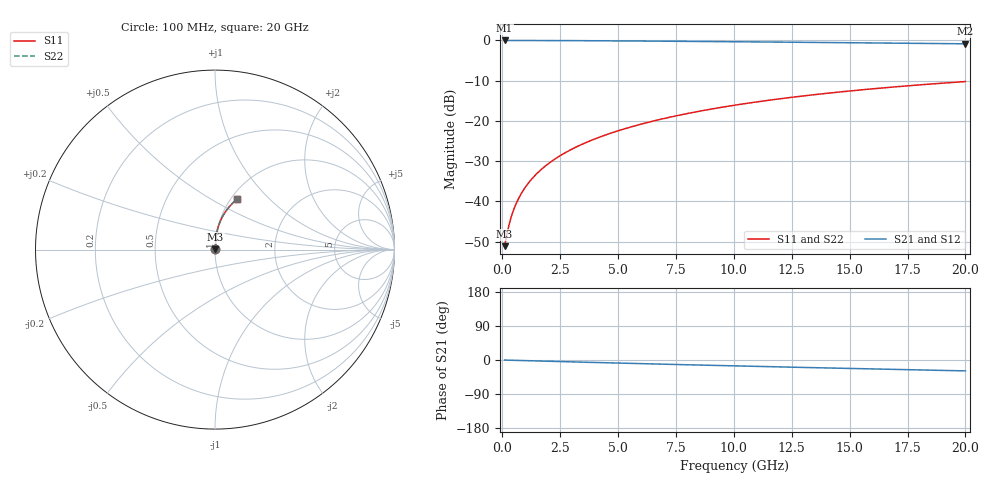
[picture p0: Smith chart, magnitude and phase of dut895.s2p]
! Touchstone file exported from HFSS 2024.1.0
!  File:  C:/UserFiles/LocalFiles/RDL_TSV_Batchsim/temp_RDL_top_895_1779857355.aedt
!  Generated:  12:51:48 PM May 27, 2026
!  Design:  RDL_top
!  Project:  temp_RDL_top_895_1779857355
!  Setup:  Setup1
!  Solution:  Sweep
! Variables:
!  dtsv = 10.80580581um
!  hbump = 3um
!  htsv = 83.18um
!  ldown = 100um
!  lrdl = 359.62um
!  p = 40
!  p1 = 52.52um
!  rhole = 1um
!  t = 450um
!  tdown = 3.915915916um
!  trdl = 3.04um
!  wdown = 15.38538539um
!  wrdl = 20.36um
# GHz S MA R 50.000000
! Terminal data exported
! Port[1] = Box2_T1
! Port[2] = Box2_T2
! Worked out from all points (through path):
!   200 points, 100 MHz to 20 GHz, reference 50 ohm
!   highest |S21| = -0.02 dB at 100 MHz (marker M1); lowest = -0.8 dB at 20 GHz (marker M2)
!   group delay of S21, straight-line fit = 3.96 ps
!   lowest |S11| = -51.1 dB at 100 MHz (marker M3), VSWR 1.01, Z = 50.2 + j0.159 ohm
!   |S11| at or under -10 dB: start of sweep to end of sweep
!   |S22| runs from -51.1 to -10.2 dB; largest |S21 - S12| = 4.4e-15
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0.1  0.002777 34.7  0.9977 -0.2  0.9977 -0.2  0.002777 34.7
! Gamma 0 0 0 0
! Port Impedance 50 0 50 0
0.2  0.003916 53.0  0.9976 -0.3  0.9976 -0.3  0.003916 53.0
0.3  0.005243 62.2  0.9975 -0.5  0.9975 -0.5  0.005243 62.2
0.4  0.006619 67.5  0.9974 -0.7  0.9974 -0.7  0.006619 67.5
0.5  0.00801 71.0  0.9973 -0.8  0.9973 -0.8  0.00801 71.0
0.6  0.009408 73.5  0.9972 -1.0  0.9972 -1.0  0.009408 73.5
0.8  0.01222 76.9  0.9969 -1.3  0.9969 -1.3  0.01222 76.9
1.1  0.01649 79.9  0.9966 -1.8  0.9966 -1.8  0.01649 79.9
1.3  0.01937 81.2  0.9963 -2.2  0.9963 -2.2  0.01937 81.2
1.6  0.02372 82.5  0.9958 -2.7  0.9958 -2.7  0.02372 82.5
2.1  0.03104 83.9  0.9949 -3.5  0.9949 -3.5  0.03104 83.9
2.7  0.03996 84.7  0.9935 -4.5  0.9935 -4.5  0.03996 84.7
3.5  0.05205 85.1  0.9912 -5.7  0.9912 -5.7  0.05205 85.1
4.2  0.06281 85.1  0.9888 -6.9  0.9888 -6.9  0.06281 85.1
5  0.0753 84.8  0.9858 -8.1  0.9858 -8.1  0.0753 84.8
5.9  0.08958 84.3  0.982 -9.5  0.982 -9.5  0.08958 84.3
6.8  0.104 83.5  0.9779 -10.8  0.9779 -10.8  0.104 83.5
8.4  0.13 81.8  0.9702 -13.2  0.9702 -13.2  0.13 81.8
10.1  0.1577 79.7  0.9616 -15.6  0.9616 -15.6  0.1577 79.7
13.4  0.2104 75.3  0.9441 -20.2  0.9441 -20.2  0.2104 75.3
16.7  0.2607 70.7  0.9258 -24.5  0.9258 -24.5  0.2607 70.7
20  0.3079 66.3  0.9068 -28.7  0.9068 -28.7  0.3079 66.3
